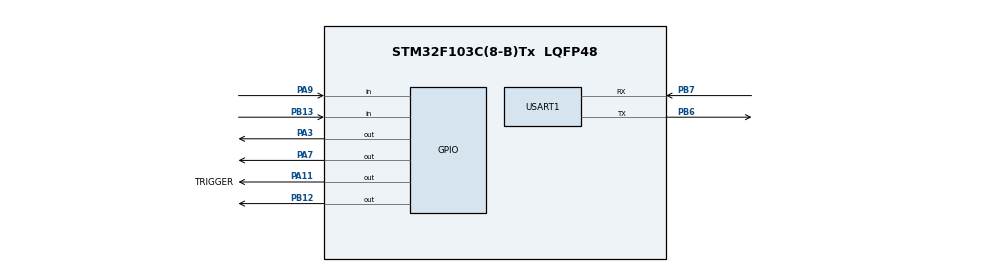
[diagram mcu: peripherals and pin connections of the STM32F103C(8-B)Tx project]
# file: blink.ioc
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Mcu.Family=STM32F1
Mcu.Name=STM32F103C(8-B)Tx
Mcu.Package=LQFP48
NVIC.PriorityGroup=NVIC_PRIORITYGROUP_4
PA11.GPIO_Label=TRIGGER
PA11.Signal=GPIO_Output
PA13.Mode=Serial_Wire
PA13.Signal=SYS_JTMS-SWDIO
PA14.Mode=Serial_Wire
PA14.Signal=SYS_JTCK-SWCLK
PA3.Signal=GPIO_Output
PA7.Signal=GPIO_Output
PA9.Signal=GPIO_Input
PB12.Signal=GPIO_Output
PB13.Signal=GPIO_Input
PB6.Mode=Asynchronous
PB6.Signal=USART1_TX
PB7.Mode=Asynchronous
PB7.Signal=USART1_RX
PD0-OSC_IN.Mode=HSE-External-Oscillator
PD0-OSC_IN.Signal=RCC_OSC_IN
PD1-OSC_OUT.Mode=HSE-External-Oscillator
PD1-OSC_OUT.Signal=RCC_OSC_OUT
ProjectManager.HeapSize=0x200
ProjectManager.StackSize=0x400
ProjectManager.TargetToolchain=STM32CubeIDE
RCC.APB1Freq_Value=8000000
RCC.APB2Freq_Value=8000000
USART1.VirtualMode=VM_ASYNC
board=custom

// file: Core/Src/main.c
/* USER CODE BEGIN Header */
/**
  ******************************************************************************
  * @file           : main.c
  * @brief          : Main program body
  ******************************************************************************
  * @attention
  *
  * <h2><center>&copy; Copyright (c) 2019 STMicroelectronics.
  * All rights reserved.</center></h2>
  *
  * This software component is licensed by ST under BSD 3-Clause license,
  * the "License"; You may not use this file except in compliance with the
  * License. You may obtain a copy of the License at:
  *                        opensource.org/licenses/BSD-3-Clause
  *
  ******************************************************************************
  */
/* USER CODE END Header */

#include "main.h"

/* USER CODE BEGIN Includes */
#include "hsr04.h"
#include <stdio.h>
#include <stdlib.h>
#include <string.h>
/* USER CODE END Includes */

UART_HandleTypeDef huart1;

/* USER CODE BEGIN PD */
#define NUMBER_OF_SENSOR 2
#define UART_HANDLER huart1
/* USER CODE END PD */

void SystemClock_Config(void);
static void MX_GPIO_Init(void);
static void MX_USART1_UART_Init(void);

/* USER CODE BEGIN 0 */
bool UART_SendData(uint8_t *data, uint16_t len)
{
    if (HAL_UART_Transmit(&UART_HANDLER, data, len, 100) == HAL_OK)
    {
        return true;
    }
    else
    {
        return false;
    }
}

bool UART_SendString(char *data)
{
    return UART_SendData((uint8_t *)data, strlen(data));
}
/* USER CODE END 0 */

int main(void)
{

    /* MCU Configuration--------------------------------------------------------*/

    /* Reset of all peripherals, Initializes the Flash interface and the Systick. */
    HAL_Init();

    /* Configure the system clock */
    SystemClock_Config();

    /* Initialize all configured peripherals */
    MX_GPIO_Init();
    MX_USART1_UART_Init();
    /* USER CODE BEGIN 2 */

    HAL_GPIO_WritePin(GPIOA, GPIO_PIN_7, GPIO_PIN_RESET);

    char SensorNotify1[5];
    char SensorNotify2[5];
    //char SensorNotify3[50];

    /* USER CODE END 2 */

    /* Infinite loop */
    while (1)
    {

        /* USER CODE BEGIN 3 */
        // int index = 0;
        HCSR04_T *UltraSensor = (HCSR04_T *)malloc(NUMBER_OF_SENSOR * sizeof(HCSR04_T));

        if (UltraSensor == NULL)
        {
            return -1;
        }

        HCSR04_Init(&UltraSensor[0], GPIOA, GPIO_PIN_9, GPIOA, GPIO_PIN_11);
        HCSR04_Init(&UltraSensor[1], GPIOB, GPIO_PIN_13, GPIOB, GPIO_PIN_12);

        uint32_t time0 = 0;
        uint32_t time1 = 0;
        //uint32_t time2=0;

        //float distance = 0;
        //DWT_Delay_Init();
        // HAL_GPIO_TogglePin(GPIOA, GPIO_PIN_7);

        time0 = HCSR04_Read(&UltraSensor[0]);
        time1 = HCSR04_Read(&UltraSensor[1]);
        //distance = (time*0.034)/2;
        UltraSensor[0].Distance = (time0 * 0.34) / 2;
        UltraSensor[1].Distance = (time1 * 0.34) / 2;

        // Sensor 1
        if (HCSR04_CompareDistance(&UltraSensor[0], 9))
        {
            // transmit data to esp8266
            HAL_GPIO_WritePin(GPIOA, GPIO_PIN_3, GPIO_PIN_SET);
            strcpy(SensorNotify1, "1:f/n");
            UART_SendString(SensorNotify1);
        }
        else
        {
            HAL_GPIO_WritePin(GPIOA, GPIO_PIN_3, GPIO_PIN_RESET);
            strcpy(SensorNotify1, "1:e/n");
            UART_SendString(SensorNotify1);
        }

        // Sensor 2
        if (HCSR04_CompareDistance(&UltraSensor[1], 5))
        {
            // transmit data to esp8266
            HAL_GPIO_WritePin(GPIOA, GPIO_PIN_7, GPIO_PIN_SET);
            strcpy(SensorNotify2, "2:f/n");
            UART_SendString(SensorNotify2);
        }
        else
        {
            HAL_GPIO_WritePin(GPIOA, GPIO_PIN_7, GPIO_PIN_RESET);
            strcpy(SensorNotify2, "2:e/n");
            UART_SendString(SensorNotify2);
        }

        // Sensor 3

        free(UltraSensor);
        HAL_Delay(100);
    }
    /* USER CODE END 3 */
}

void SystemClock_Config(void)
{
    RCC_OscInitTypeDef RCC_OscInitStruct = {0};
    RCC_ClkInitTypeDef RCC_ClkInitStruct = {0};

    /** Initializes the CPU, AHB and APB busses clocks
  */
    RCC_OscInitStruct.OscillatorType = RCC_OSCILLATORTYPE_HSI;
    RCC_OscInitStruct.HSIState = RCC_HSI_ON;
    RCC_OscInitStruct.HSICalibrationValue = RCC_HSICALIBRATION_DEFAULT;
    RCC_OscInitStruct.PLL.PLLState = RCC_PLL_NONE;
    if (HAL_RCC_OscConfig(&RCC_OscInitStruct) != HAL_OK)
    {
        Error_Handler();
    }
    /** Initializes the CPU, AHB and APB busses clocks
  */
    RCC_ClkInitStruct.ClockType = RCC_CLOCKTYPE_HCLK | RCC_CLOCKTYPE_SYSCLK | RCC_CLOCKTYPE_PCLK1 | RCC_CLOCKTYPE_PCLK2;
    RCC_ClkInitStruct.SYSCLKSource = RCC_SYSCLKSOURCE_HSI;
    RCC_ClkInitStruct.AHBCLKDivider = RCC_SYSCLK_DIV1;
    RCC_ClkInitStruct.APB1CLKDivider = RCC_HCLK_DIV1;
    RCC_ClkInitStruct.APB2CLKDivider = RCC_HCLK_DIV1;

    if (HAL_RCC_ClockConfig(&RCC_ClkInitStruct, FLASH_LATENCY_0) != HAL_OK)
    {
        Error_Handler();
    }
}

static void MX_USART1_UART_Init(void)
{

    huart1.Instance = USART1;
    huart1.Init.BaudRate = 115200;
    huart1.Init.WordLength = UART_WORDLENGTH_8B;
    huart1.Init.StopBits = UART_STOPBITS_1;
    huart1.Init.Parity = UART_PARITY_NONE;
    huart1.Init.Mode = UART_MODE_TX_RX;
    huart1.Init.HwFlowCtl = UART_HWCONTROL_NONE;
    huart1.Init.OverSampling = UART_OVERSAMPLING_16;
    if (HAL_UART_Init(&huart1) != HAL_OK)
    {
        Error_Handler();
    }
}

static void MX_GPIO_Init(void)
{
    GPIO_InitTypeDef GPIO_InitStruct = {0};

    /* GPIO Ports Clock Enable */
    __HAL_RCC_GPIOD_CLK_ENABLE();
    __HAL_RCC_GPIOA_CLK_ENABLE();
    __HAL_RCC_GPIOB_CLK_ENABLE();

    /*Configure GPIO pin Output Level */
    HAL_GPIO_WritePin(GPIOA, GPIO_PIN_3 | GPIO_PIN_7 | TRIGGER_Pin, GPIO_PIN_RESET);

    /*Configure GPIO pin Output Level */
    HAL_GPIO_WritePin(GPIOB, GPIO_PIN_12, GPIO_PIN_RESET);

    /*Configure GPIO pins : PA3 PA7 TRIGGER_Pin */
    GPIO_InitStruct.Pin = GPIO_PIN_3 | GPIO_PIN_7 | TRIGGER_Pin;
    GPIO_InitStruct.Mode = GPIO_MODE_OUTPUT_PP;
    GPIO_InitStruct.Pull = GPIO_NOPULL;
    GPIO_InitStruct.Speed = GPIO_SPEED_FREQ_LOW;
    HAL_GPIO_Init(GPIOA, &GPIO_InitStruct);

    /*Configure GPIO pin : PB12 */
    GPIO_InitStruct.Pin = GPIO_PIN_12;
    GPIO_InitStruct.Mode = GPIO_MODE_OUTPUT_PP;
    GPIO_InitStruct.Pull = GPIO_NOPULL;
    GPIO_InitStruct.Speed = GPIO_SPEED_FREQ_LOW;
    HAL_GPIO_Init(GPIOB, &GPIO_InitStruct);

    /*Configure GPIO pin : PB13 */
    GPIO_InitStruct.Pin = GPIO_PIN_13;
    GPIO_InitStruct.Mode = GPIO_MODE_INPUT;
    GPIO_InitStruct.Pull = GPIO_NOPULL;
    HAL_GPIO_Init(GPIOB, &GPIO_InitStruct);

    /*Configure GPIO pin : PA9 */
    GPIO_InitStruct.Pin = GPIO_PIN_9;
    GPIO_InitStruct.Mode = GPIO_MODE_INPUT;
    GPIO_InitStruct.Pull = GPIO_NOPULL;
    HAL_GPIO_Init(GPIOA, &GPIO_InitStruct);
}

void Error_Handler(void)
{
}

/************************ (C) COPYRIGHT STMicroelectronics *****END OF FILE****/
